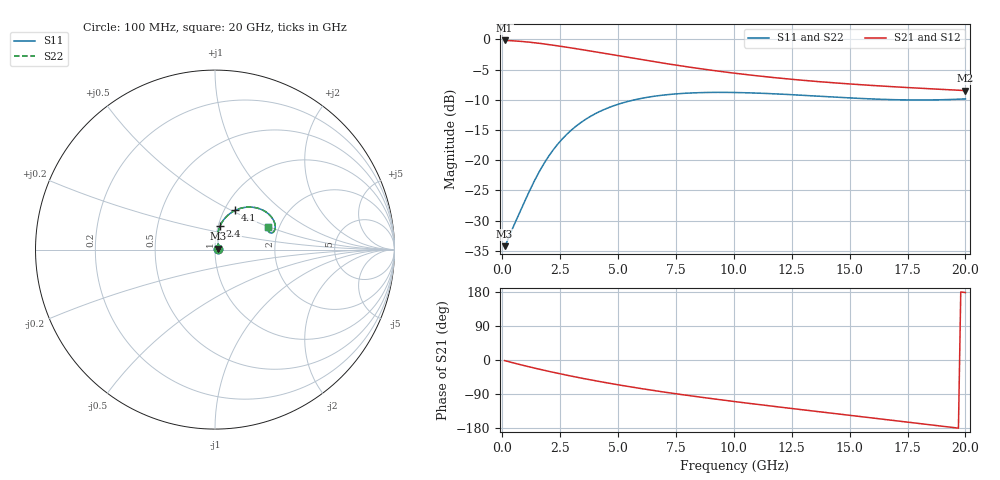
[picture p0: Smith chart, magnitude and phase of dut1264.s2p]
! Touchstone file exported from HFSS 2024.1.0
!  File:  C:/UserFiles/LocalFiles/RDL_TSV_Batchsim/temp_RDL_TSV_1264_1780272897.aedt
!  Generated:  08:30:26 AM Jun  1, 2026
!  Design:  RDL_TSV
!  Project:  temp_RDL_TSV_1264_1780272897
!  Setup:  Setup1
!  Solution:  Sweep
! Variables:
!  dtsv = 10.01um
!  hbump = 3um
!  htsv = 52.61um
!  ldown = 306.91um
!  lrdl = 461.93um
!  p = 40
!  p1 = 53.81um
!  rhole = 10um
!  subl = 2768.45um
!  t = 450um
!  tdown = 3.34um
!  trdl = 2.35um
!  viad = 10um
!  wdown = 16.21um
!  wrdl = 22.42um
!  xbump = 18um
# GHz S MA R 50.000000
! Terminal data exported
! Port[1] = TM1_1_T1
! Port[2] = TM1_4_T1
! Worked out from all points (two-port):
!   200 points, 100 MHz to 20 GHz, reference 50 ohm
!   highest |S21| = -0.17 dB at 100 MHz (marker M1); lowest = -8.5 dB at 20 GHz (marker M2)
!   |S21| within 3 dB of the highest: start of sweep to 5.748 GHz
!   lowest |S11| = -34.2 dB at 100 MHz (marker M3), VSWR 1.04, Z = 51.9 + j0.477 ohm
!   |S11| at or under -10 dB: start of sweep to 5.707 GHz; 17.22 GHz to 18.79 GHz (1.566 GHz wide, 8.7 % of centre)
!   |S22| runs from -34.2 to -8.8 dB; largest |S21 - S12| = 1.3e-14
!   S11 on the Smith chart (normalised r, x): 100 MHz: 1.04, +0.01; 2.4 GHz: 1.02, +0.28; 4.1 GHz: 1.13, +0.53; 20 GHz: 1.76, +0.49
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0.1  0.01943 13.7  0.9808 -1.6  0.9808 -1.6  0.01943 13.7
! Gamma 0 0 0 0
! Port Impedance 50 0 50 0
0.4  0.02606 41.8  0.9758 -6.4  0.9758 -6.4  0.02606 41.8
0.8  0.03873 62.4  0.964 -12.6  0.964 -12.6  0.03874 62.4
1.2  0.05696 74.2  0.948 -18.6  0.948 -18.6  0.05697 74.2
1.5  0.0743 78.3  0.9338 -22.9  0.9338 -22.9  0.0743 78.3
1.9  0.1007 79.7  0.9128 -28.5  0.9128 -28.5  0.1007 79.7
2.4  0.1363 77.8  0.8846 -35.2  0.8846 -35.2  0.1363 77.8
2.9  0.1719 73.9  0.8554 -41.5  0.8554 -41.5  0.1719 73.9
3.5  0.2119 68.3  0.8199 -48.8  0.8199 -48.8  0.2119 68.3
4.1  0.2473 62.5  0.7848 -55.7  0.7848 -55.7  0.2474 62.5
4.7  0.2775 56.9  0.7507 -62.2  0.7507 -62.2  0.2775 56.9
5.3  0.3023 51.6  0.7178 -68.5  0.7178 -68.5  0.3023 51.6
6  0.3249 46.0  0.6816 -75.4  0.6816 -75.4  0.325 46.0
6.8  0.3434 40.2  0.6434 -82.9  0.6434 -82.9  0.3435 40.2
8.4  0.3621 31.0  0.578 -96.7  0.578 -96.7  0.3621 31.0
10.1  0.3635 23.8  0.5235 -110.2  0.5235 -110.2  0.3636 23.8
11.7  0.355 19.4  0.484 -122.2  0.484 -122.2  0.355 19.4
13.4  0.3412 16.9  0.4517 -134.5  0.4517 -134.5  0.3412 16.9
15  0.328 16.4  0.428 -145.9  0.428 -145.9  0.328 16.4
16.7  0.3179 17.6  0.4078 -158.1  0.4078 -158.1  0.3179 17.6
18.3  0.3154 19.9  0.392 -169.7  0.392 -169.7  0.3153 19.9
20  0.3217 22.7  0.3773 178.0  0.3773 178.0  0.3217 22.7
